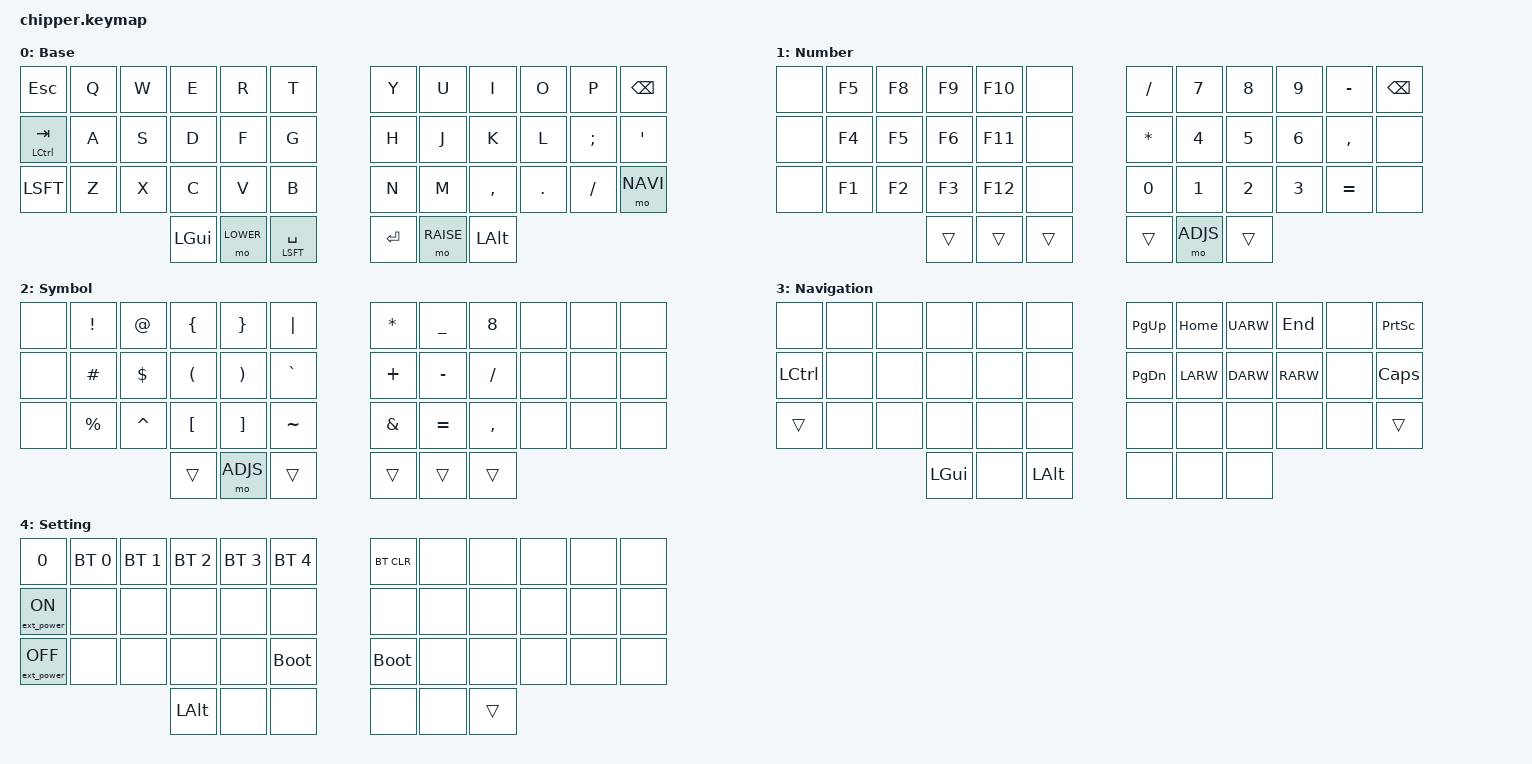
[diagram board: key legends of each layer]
/*
 * Copyright (c) 2020 The ZMK Contributors
 *
 * SPDX-License-Identifier: MIT
 */

#include <behaviors.dtsi>
#include <dt-bindings/zmk/keys.h>
#include <dt-bindings/zmk/bt.h>
#include <dt-bindings/zmk/ext_power.h>

// defines readable layer index
#define DEFAULT 0
#define LOWER   1
#define RAISE   2
#define NAVI    3
#define ADJS    4

        
/ {
        
//       chosen { 
//		zmk,kscan = &kscan0;
//		zmk,matrix_transform = &default_transform;
//	};

        keymap {
                compatible = "zmk,keymap";

                default_layer { 
// DEFAULT LAYER
// .--------------------------------------------------------------.       .-----------------------------------------------------------.
// |   ESC        |    Q    |    W   |   E    |    R    |    T    |       |   Y   |    U    |    I    |    O    |     P    |   BKSP   |
// |--------------+---------+--------+--------+---------+---------|       |-------+---------+---------+---------+----------+----------|
// |   TAB/CTRL   |    A    |    S   |   D    |    F    |    G    |       |   H   |    J    |    K    |    L    |     ;    |     '    |
// |--------------+---------+--------+--------+---------+---------|       |-------+---------+---------+---------+----------+----------|
// |   SHIFT      |    Z    |    X   |   C    |    V    |    B    |       |   N   |    M    |    ,    |    .    |     /    |   NAVI   |
// '---------------------------------+--------+---------+---------+       |-------+---------+---------+-------------------------------'
//                                   |  GUI   |   RSE   |   SPC   |       |  ENT  |   LWR   |  LALT   |
//                                   '--------+---------+---------'       '-------+---------+---------'
                  bindings = <
        &kp ESC        &kp Q    &kp W    &kp E    &kp R     &kp T           &kp Y    &kp U      &kp I     &kp O     &kp P     &kp BKSP
        &mt LCTL TAB   &kp A    &kp S    &kp D    &kp F     &kp G           &kp H    &kp J      &kp K     &kp L     &kp SCLN  &kp QUOT
        &kp LSFT       &kp Z    &kp X    &kp C    &kp V     &kp B           &kp N    &kp M      &kp CMMA  &kp DOT   &kp FSLH  &mo NAVI
                                 &kp LGUI  &mo LOWER  &mt LSFT SPC          &kp RET  &mo RAISE  &kp LALT
                            >;

                  label = "Jing";
                  display-name = "Base";
                };


                lower_layer {
// LOWER Layer: Media and Number Pad
// .--------------------------------------------------------------.    .-----------------------------------------------------------.
// |              |    F5   |   F8   |   F9   |   F10   |         |    |  / ?  |   7 &   |   8 *   |   9 (   |   - _    |   BKSP   |
// |--------------+---------+--------+--------+---------+---------|    |-------+---------+---------+---------+----------+----------|
// |              |    F4   |   F5   |   F6   |   F11   |         |    |   *   |   4 $   |   5 %   |   6 ^   |   , <    |          |
// |--------------+---------+--------+--------+---------+---------|    |-------+---------+---------+---------+----------+----------|
// |              |    F1   |   F2   |   F3   |   F12   |         |    |  0 )  |   1 !   |   2 @   |   3 #   |   = +    |          |
// '---------------------------------+--------+---------+---------+    |-------+---------+---------+-------------------------------'
//                                   |        |         |         |    |       |         |         |
//                                   '--------+---------+---------'    '-------+---------+---------'

                  bindings = <
          &none      &kp F5   &kp F8   &kp F9   &kp F10   &none       &kp FSLH   &kp NUM_7  &kp NUM_8  &kp NUM_9  &kp MINUS  &kp BKSP
          &none      &kp F4   &kp F5   &kp F6   &kp F11   &none       &kp STAR   &kp NUM_4  &kp NUM_5  &kp NUM_6  &kp COMMA  &none
          &none      &kp F1   &kp F2   &kp F3   &kp F12   &none       &kp NUM_0  &kp NUM_1  &kp NUM_2  &kp NUM_3  &kp EQUAL  &none
                                       &trans   &trans    &trans      &trans     &mo ADJS     &trans
                            >;
                  label = "NUM";
                  display-name = "Number";
                };



                raise_layer {
// RAISE Layer: Special Chars
// .--------------------------------------------------------------.    .-----------------------------------------------------------.
// |              |    !    |    @   |   {    |    }    |    |    |    |   *   |    _    |    €    |         |          |          |
// |--------------+---------+--------+--------+---------+---------|    |-------+---------+---------+---------+----------+----------|
// |              |    #    |    $   |   (    |    )    |    `    |    |   +   |    -    |    /    |         |          |          |
// |--------------+---------+--------+--------+---------+---------|    |-------+---------+---------+---------+----------+----------|
// |              |    %    |    ^   |   [    |    ]    |    ~    |    |   &   |    =    |    ,    |         |          |          |
// '---------------------------------+--------+---------+---------+    |-------+---------+---------+-------------------------------'
//                                   |        |         |         |    |       |         |         |
//                                   '--------+---------+---------'    '-------+---------+---------'
                        bindings = <
        &none    &kp EXCL   &kp AT    &kp LBRC  &kp RBRC  &kp PIPE     &kp ASTRK  &kp UNDER  &kp NUM_8  &none  &none  &none
        &none    &kp HASH   &kp DLLR  &kp LPAR  &kp RPAR  &kp GRAVE    &kp PLUS   &kp MINUS  &kp FSLH   &none  &none  &none
        &none    &kp PRCNT  &kp CARET &kp LBKT  &kp RBKT  &kp TILDE    &kp AMPS   &kp EQUAL  &kp COMMA  &none  &none  &none
                                      &trans    &mo ADJS    &trans       &trans     &trans     &trans
                        >;
                        label = "SYM";
                        display-name = "Symbol";
                };


              nav_layer {
// NAVIGATION Layer: Directions
// .--------------------------------------------------------------.    .-----------------------------------------------------------.
// |              |         |        |        |         |         |    | PG UP | PG HOME |   UP    |  PG END |          |  PrtScn  |
// |--------------+---------+--------+--------+---------+---------|    |-------+---------+---------+---------+----------+----------|
// |   LCTRL      |         |        |        |         |         |    | PF DN |  LEFT   |  DOWN   |  RIGHT  |          | CAPS LCK |
// |--------------+---------+--------+--------+---------+---------|    |-------+---------+---------+---------+----------+----------|
// |   &trans     |         |        |        |         |         |    |       |         |         |         |          |  &trans  |
// '---------------------------------+--------+---------+---------+    |-------+---------+---------+-------------------------------'
//                                   |  GUI   |         |   ALT   |    |       |         |         |
//                                   '--------+---------+---------'    '-------+---------+---------'
                        bindings = <
          &none     &none   &none    &none     &none    &none        &kp PG_UP  &kp HOME   &kp UARW   &kp END   &none  &kp PSCRN
          &kp LCTL  &none   &none    &none     &none    &none        &kp PG_DN  &kp LARW   &kp DARW   &kp RARW  &none  &kp CLCK
          &trans    &none   &none    &none     &none    &none        &none      &none      &none      &none     &none  &trans
                                     &kp LGUI  &none    &kp LALT     &none      &none      &none
                        >;
                        label = "NAV";
                        display-name = "Navigation";
                };


                adjust_layer {
// ADJUST Layer: Setting and Configurations
// .------------------------------------------------------------.    .-------------------------------------------------------------.
// |      0     |  BT 0   |  BT 1  |  BT 2  |  BT 3   |  BT 4   |    |  BT CLR |         |         |         |          |          |
// |------------+---------+--------+--------+---------+---------|    |---------+---------+---------+---------+----------+----------|
// | ExtPow ON  |         |        |        |         |         |    |         |         |         |         |          |          |
// |------------+---------+--------+--------+---------+---------|    |---------+---------+---------+---------+----------+----------|
// | ExtPow OFF |         |        |        |         |  boot   |    |  boot   |         |         |         |          |          |
// '-------------------------------+--------+---------+---------+    |---------+---------+---------+-------------------------------'
//                                 |  LAlt  |         |         |    |         |         |         |
//                                 '--------+---------+---------'    '---------+---------+---------'

                        bindings = <
    &kp NUM_0           &bt BT_SEL 0  &bt BT_SEL 1  &bt BT_SEL 2  &bt BT_SEL 3  &bt BT_SEL 4       &bt BT_CLR   &none     &none     &none    &none    &none
    &ext_power EP_ON    &none         &none         &none         &none         &none              &none        &none     &none     &none    &none    &none
    &ext_power EP_OFF   &none         &none         &none         &none         &bootloader        &bootloader  &none     &none     &none    &none    &none
                                                    &kp LALT      &none         &none              &none        &none     &trans
                        >;
                        label = "Profile";
                        display-name = "Setting";
                };
        };
};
